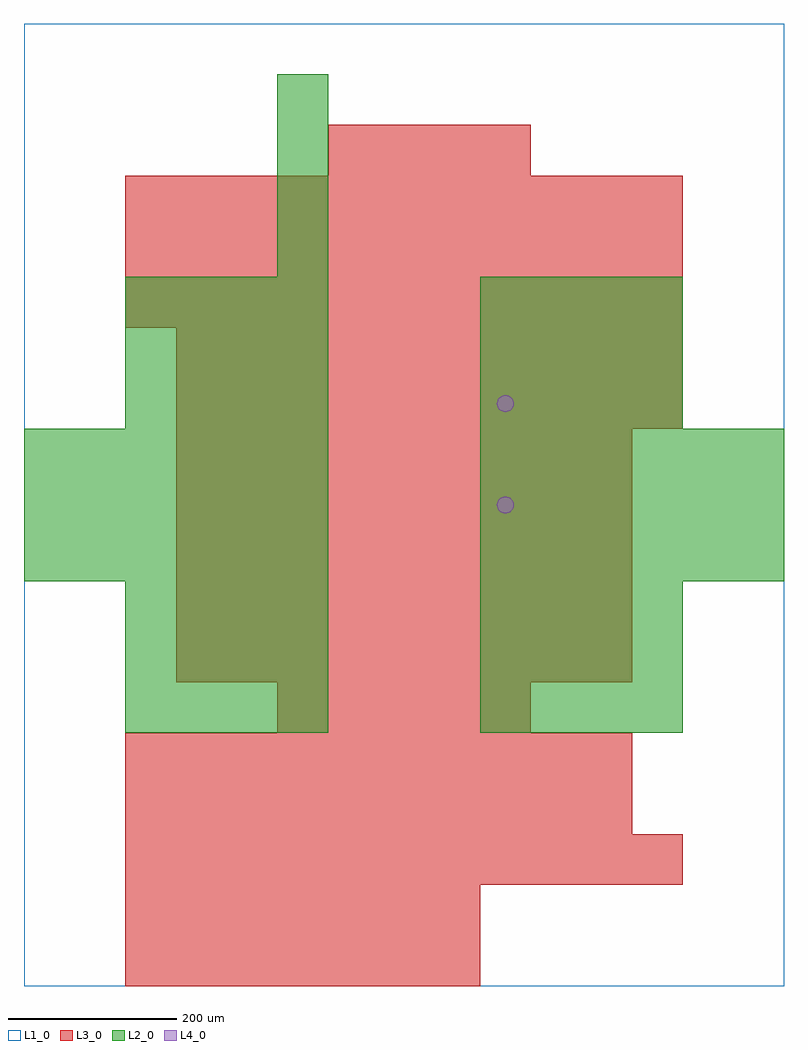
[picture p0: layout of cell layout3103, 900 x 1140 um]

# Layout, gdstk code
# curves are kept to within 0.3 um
import gdstk
lib = gdstk.Library(unit=1e-6, precision=1e-09)
def R(c, l, rs):  # rectangles x0, y0, x1, y1
    for r in rs: c.add(gdstk.rectangle(r[:2], r[2:], *l))
def A(c, l, x, y, w, h, nx, ny, dx, dy):  # array of equal rectangles
    R(c, l, [(x+i*dx, y+j*dy, x+i*dx+w, y+j*dy+h) for i in range(nx) for j in range(ny)])
def P(c, l, *ps):  # polygons
    for p in ps: c.add(gdstk.Polygon(p, *l))
L1_0 = (1, 0)
L2_0 = (2, 0)
L3_0 = (3, 0)
L4_0 = (4, 0)

layout3103 = lib.new_cell('layout3103')
R(layout3103, L1_0, [(0,0,900,1140)])
A(layout3103, L2_0, 120, 300, 60, 60, 4, 3, 60, 60)
A(layout3103, L2_0, 540, 300, 60, 60, 4, 3, 60, 60)
A(layout3103, L2_0, 0, 480, 60, 60, 6, 3, 60, 60)
A(layout3103, L2_0, 540, 480, 60, 60, 6, 3, 60, 60)
A(layout3103, L2_0, 120, 660, 60, 60, 4, 3, 60, 60)
A(layout3103, L2_0, 540, 660, 60, 60, 4, 3, 60, 60)
A(layout3103, L2_0, 300, 840, 60, 60, 1, 4, 0, 60)
A(layout3103, L3_0, 120, 0, 60, 60, 7, 2, 60, 60)
A(layout3103, L3_0, 120, 120, 60, 60, 11, 2, 60, 660)
A(layout3103, L3_0, 120, 180, 60, 60, 10, 2, 60, 60)
A(layout3103, L3_0, 300, 300, 60, 60, 5, 1, 60, 0)
A(layout3103, L3_0, 180, 360, 60, 60, 9, 5, 60, 60)
A(layout3103, L3_0, 180, 660, 60, 60, 10, 2, 60, 60)
A(layout3103, L3_0, 120, 840, 60, 60, 11, 2, 60, 60)
A(layout3103, L3_0, 360, 960, 60, 60, 4, 1, 60, 0)
P(layout3103, L4_0, [(580,570),(579.239,573.827),(577.071,577.071),(573.827,579.239),(570,580),(566.173,579.239),(562.929,577.071),(560.761,573.827),(560,570),(560.761,566.173),(562.929,562.929),(566.173,560.761),(570,560),(573.827,560.761),(577.071,562.929),(579.239,566.173)],
  [(580,690),(579.239,693.827),(577.071,697.071),(573.827,699.239),(570,700),(566.173,699.239),(562.929,697.071),(560.761,693.827),(560,690),(560.761,686.173),(562.929,682.929),(566.173,680.761),(570,680),(573.827,680.761),(577.071,682.929),(579.239,686.173)])

lib.write_gds('layout3103.gds')
